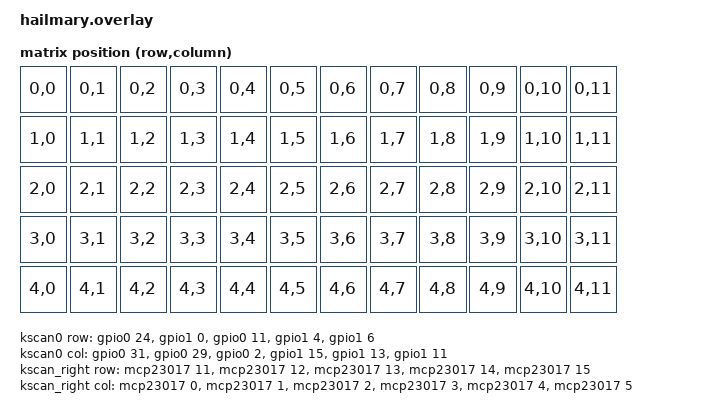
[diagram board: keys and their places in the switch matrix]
#include <dt-bindings/zmk/matrix_transform.h>
#include <dt-bindings/pinctrl/nrf-pinctrl.h>


/ {
    chosen {
        zmk,kscan = &kscan_composite;
        zmk,matrix-transform = &default_transform;
        zephyr,display = &ssd1306;
    };

    default_transform: keymap_transform_0 {
        compatible = "zmk,matrix-transform";
        columns = <12>;
        rows = <5>;
        map = <
            RC(0,0)  RC(0,1)  RC(0,2)  RC(0,3)  RC(0,4)  RC(0,5)  RC(0,6)  RC(0,7)  RC(0,8)  RC(0,9)  RC(0,10)  RC(0,11)
            RC(1,0)  RC(1,1)  RC(1,2)  RC(1,3)  RC(1,4)  RC(1,5)  RC(1,6)  RC(1,7)  RC(1,8)  RC(1,9)  RC(1,10)  RC(1,11)
            RC(2,0)  RC(2,1)  RC(2,2)  RC(2,3)  RC(2,4)  RC(2,5)  RC(2,6)  RC(2,7)  RC(2,8)  RC(2,9)  RC(2,10)  RC(2,11)
            RC(3,0)  RC(3,1)  RC(3,2)  RC(3,3)  RC(3,4)  RC(3,5)  RC(3,6)  RC(3,7)  RC(3,8)  RC(3,9)  RC(3,10)  RC(3,11)
            RC(4,0)  RC(4,1)  RC(4,2)  RC(4,3)  RC(4,4)  RC(4,5)  RC(4,6)  RC(4,7)  RC(4,8)  RC(4,9)  RC(4,10)  RC(4,11)
        >;
    };

    kscan_composite: kscan_composite {
        compatible = "zmk,kscan-composite";
        rows = <5>;
        columns = <12>;

        left {
            kscan = <&kscan0>;
            column-offset = <0>;
        };

        right {
            kscan = <&kscan_right>;
            col-offset = <6>;
        };
    };

    kscan0: kscan_left {
        compatible = "zmk,kscan-gpio-matrix";
        diode-direction = "col2row";

        row-gpios = <
            &gpio0 24 (GPIO_ACTIVE_HIGH | GPIO_PULL_DOWN)
            &gpio1 0  (GPIO_ACTIVE_HIGH | GPIO_PULL_DOWN)
            &gpio0 11 (GPIO_ACTIVE_HIGH | GPIO_PULL_DOWN)
            &gpio1 4  (GPIO_ACTIVE_HIGH | GPIO_PULL_DOWN)
            &gpio1 6  (GPIO_ACTIVE_HIGH | GPIO_PULL_DOWN)
        >;

        col-gpios = <
            &gpio0 31 GPIO_ACTIVE_HIGH
            &gpio0 29 GPIO_ACTIVE_HIGH
            &gpio0 2  GPIO_ACTIVE_HIGH
            &gpio1 15 GPIO_ACTIVE_HIGH
            &gpio1 13 GPIO_ACTIVE_HIGH
            &gpio1 11 GPIO_ACTIVE_HIGH
        >;
    };

    kscan_right: kscan_right {
        compatible = "zmk,kscan-gpio-matrix";
        diode-direction = "row2col";
        wakeup-source;

        row-gpios
            = <&mcp23017 11 GPIO_ACTIVE_LOW>
            , <&mcp23017 12 GPIO_ACTIVE_LOW>
            , <&mcp23017 13 GPIO_ACTIVE_LOW>
            , <&mcp23017 14 GPIO_ACTIVE_LOW>
            , <&mcp23017 15 GPIO_ACTIVE_LOW>
            ;

        col-gpios
            = <&mcp23017 0 (GPIO_ACTIVE_LOW | GPIO_PULL_UP)>
            , <&mcp23017 1 (GPIO_ACTIVE_LOW | GPIO_PULL_UP)>
            , <&mcp23017 2 (GPIO_ACTIVE_LOW | GPIO_PULL_UP)>
            , <&mcp23017 3 (GPIO_ACTIVE_LOW | GPIO_PULL_UP)>
            , <&mcp23017 4 (GPIO_ACTIVE_LOW | GPIO_PULL_UP)>
            , <&mcp23017 5 (GPIO_ACTIVE_LOW | GPIO_PULL_UP)>
            ;
    };
};

&pinctrl {
    i2c1_default: i2c1_default {
        group1 {
            psels = <NRF_PSEL(TWIM_SDA, 0, 20)>,
                    <NRF_PSEL(TWIM_SCL, 0, 22)>;
        };
    };

    i2c1_sleep: i2c1_sleep {
        group1 {
            psels = <NRF_PSEL(TWIM_SDA, 0, 20)>,
                    <NRF_PSEL(TWIM_SCL, 0, 22)>;
            low-power-enable;
        };
    };
};

&i2c1 {
    compatible = "nordic,nrf-twi";
    pinctrl-0 = <&i2c1_default>;
    pinctrl-1 = <&i2c1_sleep>;
    pinctrl-names = "default", "sleep";
    status = "okay";
    clock-frequency = <I2C_BITRATE_STANDARD>;

    mcp23017: mcp23017@20 {
        compatible = "microchip,mcp23017";
        status = "okay";
        reg = <0x20>;
        gpio-controller;
        #gpio-cells = <2>;
        ngpios = <16>;
    };

    ssd1306: ssd1306@3c {
    compatible = "solomon,ssd1306fb";
    reg = <0x3c>;
    width = <128>;
    height = <32>;
    segment-offset = <0>;
    page-offset = <0>;
    display-offset = <0>;
    multiplex-ratio = <31>;
    prechargep = <0x22>;
    status = "okay";
    };
};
